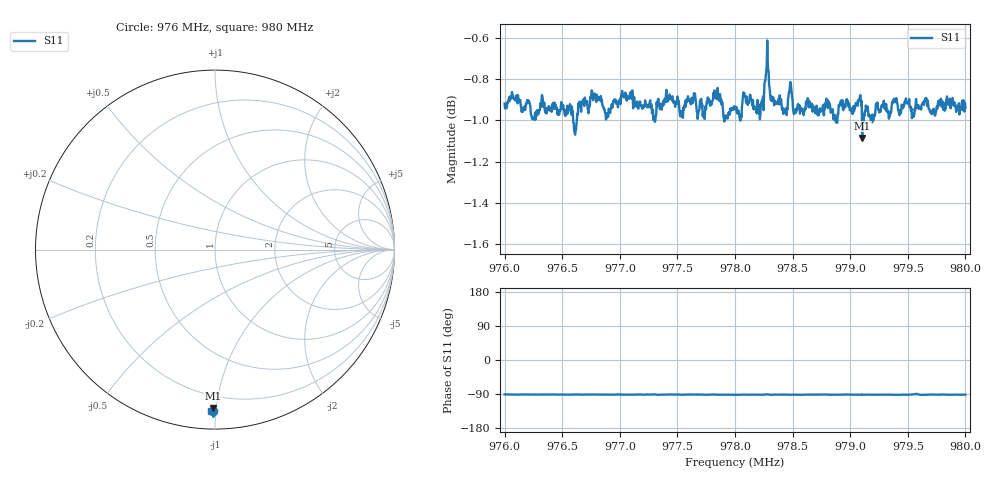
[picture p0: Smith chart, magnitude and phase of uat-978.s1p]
! Calibrated averaged scanner-service zoom
# Hz S RI R 50
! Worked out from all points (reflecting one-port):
!   1001 points, 976 MHz to 980 MHz, reference 50 ohm
!   lowest |S11| = -1.1 dB at 979.104 MHz (marker M1), VSWR 16.03, Z = 6.15 - j49.1 ohm
!   phase of S11 starts at -91 deg and turns -1 deg over the sweep
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9.76e8  -0.0138 -0.8996
9.765e8  -0.0202 -0.8986
9.76616e8  -0.0148 -0.8857
9.76672e8  -0.0276 -0.8996
9.76764e8  -0.0163 -0.9026
9.76892e8  -0.0215 -0.8925
9.77e8  -0.0162 -0.9016
9.77092e8  -0.0211 -0.9044
9.77296e8  -0.0137 -0.8932
9.7734e8  -0.0286 -0.8987
9.775e8  -0.0155 -0.9031
9.77732e8  -0.0226 -0.8925
9.77832e8  -0.0225 -0.9042
9.77944e8  -0.0217 -0.894
9.78e8  -0.0292 -0.897
9.78204e8  -0.0238 -0.8966
9.78276e8  -0.0093 -0.92
9.78328e8  -0.0232 -0.9024
9.785e8  -0.0225 -0.901
9.79e8  -0.0205 -0.8963
9.79104e8  -0.00969 -0.8825
9.795e8  -0.0236 -0.8999
9.79568e8  0.00663 -0.8994
9.79624e8  -0.0296 -0.899
9.79704e8  -0.0188 -0.8958
9.79808e8  -0.0159 -0.8965
9.79856e8  -0.0279 -0.9002
9.8e8  -0.0236 -0.8973
